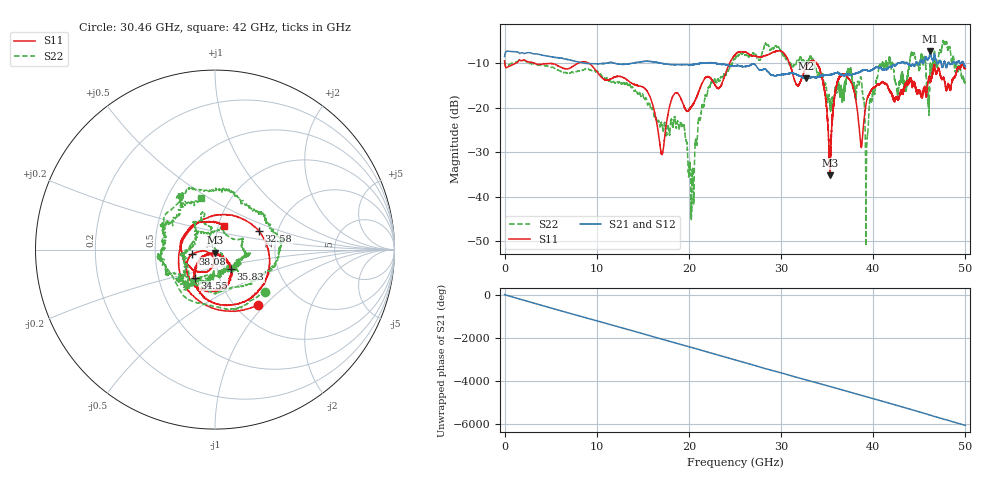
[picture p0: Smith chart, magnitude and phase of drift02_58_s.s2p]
!Created with skrf (http://scikit-rf.org).
# Hz S RI R 50.0
!freq ReS11 ImS11 ReS21 ImS21 ReS12 ImS12 ReS22 ImS22
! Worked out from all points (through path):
!   10001 points, 300 kHz to 50 GHz, reference 50 ohm
!   highest |S21| = -7.30 dB at 46.2 GHz (marker M1); lowest = -13.4 dB at 32.73 GHz (marker M2)
!   group delay of S21, straight-line fit = 335 ps
!   lowest |S11| = -35.2 dB at 35.31 GHz (marker M3), VSWR 1.04, Z = 50.1 - j1.73 ohm
!   |S11| at or under -10 dB: 3.228 GHz to 8.008 GHz (4.78 GHz wide, 85.1 % of centre); 9.106 GHz to 24.42 GHz (15.31 GHz wide, 91.3 % of centre); 33.84 GHz to end of sweep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
!   |S22| runs from -51.1 to -4.9 dB; largest |S21 - S12| = 0.013
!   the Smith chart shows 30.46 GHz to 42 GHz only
!   S11 on the Smith chart (normalised r, x): 30.46 GHz: 1.26, -0.91; 32.58 GHz: 1.60, +0.35; 34.55 GHz: 0.76, -0.25; 35.83 GHz: 1.16, -0.26; 38.08 GHz: 0.78, -0.04; 42 GHz: 1.06, +0.29
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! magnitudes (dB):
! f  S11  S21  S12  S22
! 300 kHz  -9.5  -8.5  -8.4  -9.4
! 8.335 GHz  -9.7  -9.9  -9.9  -11.6
! 16.67 GHz  -25.6  -9.9  -9.9  -22.9
! 19.31 GHz  -18.8  -10.4  -10.4  -24.4
! 20.35 GHz  -19.5  -10.3  -10.3  -35.0
! 21.94 GHz  -13.1  -9.9  -9.9  -17.3
! 25 GHz  -8.1  -10.6  -10.6  -9.0
! 30.46 GHz  -8.2  -12.5  -12.4  -8.7
! 32.58 GHz  -11.5  -13.3  -13.3  -10.2
! 32.73 GHz  -10.9  -13.4  -13.5  -9.9
! 33.34 GHz  -9.5  -13.1  -13.2  -9.0
! 34.55 GHz  -14.3  -12.7  -12.7  -12.7
! 35.31 GHz  -35.2  -12.6  -12.5  -19.6
! 35.83 GHz  -17.1  -12.2  -12.4  -16.1
! 38.08 GHz  -17.9  -12.4  -12.4  -17.6
! 38.69 GHz  -28.9  -11.9  -11.8  -13.4
! 39.32 GHz  -18.2  -11.6  -11.6  -27.8
! 41.67 GHz  -15.8  -10.9  -11.1  -9.4
! 42 GHz  -17.0  -10.8  -10.8  -10.6
! 46.2 GHz  -14.1  -7.3  -7.2  -10.2
! 47.76 GHz  -14.3  -9.7  -9.7  -5.4
! 50 GHz  -11.2  -10.8  -10.8  -14.0
